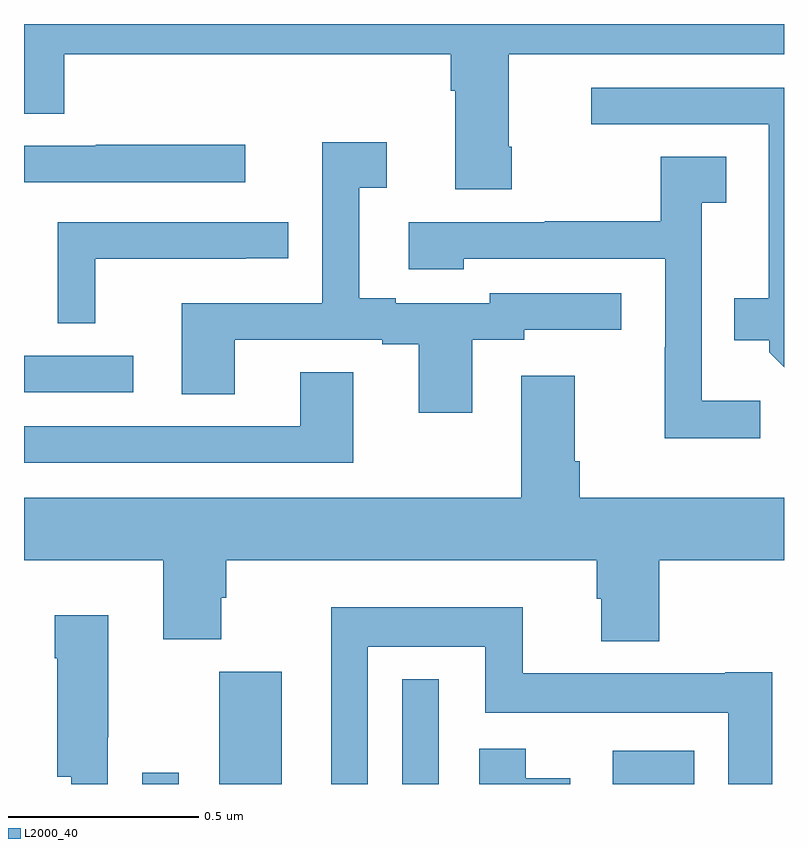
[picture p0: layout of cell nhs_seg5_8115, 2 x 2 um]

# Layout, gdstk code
import gdstk
lib = gdstk.Library(unit=1e-6, precision=1e-09)
def R(c, l, rs):  # rectangles x0, y0, x1, y1
    for r in rs: c.add(gdstk.rectangle(r[:2], r[2:], *l))
def P(c, l, *ps):  # polygons
    for p in ps: c.add(gdstk.Polygon(p, *l))
L2000_40 = (2000, 40)

nhs_seg5_8115 = lib.new_cell('nhs_seg5_8115')
R(nhs_seg5_8115, L2000_40, [(217.311,894.799,217.407,894.829), (217.514,894.799,217.678,895.095), (217.995,894.799,218.091,895.075), (218.549,894.799,218.764,894.886), (217,895.83,217.288,895.926)])
P(nhs_seg5_8115, L2000_40, [(218.283,896.476),(218.275,896.476),(218.275,896.72),(219,896.72),(219,896.799),(217,896.799),(217,896.563),(217.106,896.563),(217.106,896.72),(218.123,896.72),(218.123,896.624),(218.135,896.624),(218.135,896.364),(218.283,896.364)],
  [(219,896.631),(218.493,896.631),(218.493,896.535),(218.96,896.535),(218.96,896.077),(218.869,896.077),(218.869,895.967),(218.961,895.967),(218.961,895.935),(219,895.896)],
  [(218.179,895.968),(218.316,895.968),(218.316,895.995),(218.572,895.995),(218.572,896.091),(218.226,896.091),(218.226,896.064),(217.978,896.064),(217.978,896.077),(217.882,896.077),(217.882,896.368),(217.954,896.368),(217.954,896.488),(217.785,896.488),(217.785,896.064),(217.415,896.064),(217.415,895.825),(217.555,895.825),(217.555,895.968),(217.943,895.968),(217.943,895.956),(218.039,895.956),(218.039,895.776),(218.179,895.776)],
  [(217.582,896.481),(217.189,896.481),(217.189,896.478),(217,896.478),(217,896.382),(217.582,896.382)],
  [(218.938,895.807),(218.784,895.807),(218.784,896.329),(218.848,896.329),(218.848,896.45),(218.676,896.45),(218.676,896.28),(218.371,896.28),(218.371,896.277),(218.013,896.277),(218.013,896.153),(218.157,896.153),(218.157,896.181),(218.688,896.181),(218.688,895.949),(218.686,895.949),(218.686,895.709),(218.938,895.709)],
  [(217.188,896.181),(217.583,896.181),(217.583,896.182),(217.696,896.182),(217.696,896.277),(217.089,896.277),(217.089,896.011),(217.188,896.011)],
  [(217.867,895.883),(217.727,895.883),(217.727,895.74),(217,895.74),(217,895.644),(217.867,895.644)],
  [(218.672,895.388),(219,895.388),(219,895.552),(218.462,895.552),(218.462,895.648),(218.449,895.648),(218.449,895.873),(218.309,895.873),(218.309,895.552),(217,895.552),(217,895.388),(217.367,895.388),(217.367,895.18),(217.519,895.18),(217.519,895.289),(217.532,895.289),(217.532,895.388),(218.507,895.388),(218.507,895.287),(218.519,895.287),(218.519,895.175),(218.672,895.175)],
  [(217.905,895.16),(218.214,895.16),(218.214,894.986),(218.853,894.986),(218.853,894.799),(218.969,894.799),(218.969,895.093),(218.846,895.093),(218.846,895.09),(218.312,895.09),(218.312,895.264),(217.808,895.264),(217.808,894.799),(217.905,894.799)],
  [(217.221,894.922),(217.222,894.922),(217.222,895.243),(217.081,895.243),(217.081,895.13),(217.088,895.13),(217.088,894.818),(217.124,894.818),(217.124,894.799),(217.221,894.799)],
  [(218.437,894.814),(218.32,894.814),(218.32,894.892),(218.198,894.892),(218.198,894.799),(218.437,894.799)])

lib.write_gds('nhs_seg5_8115.gds')
